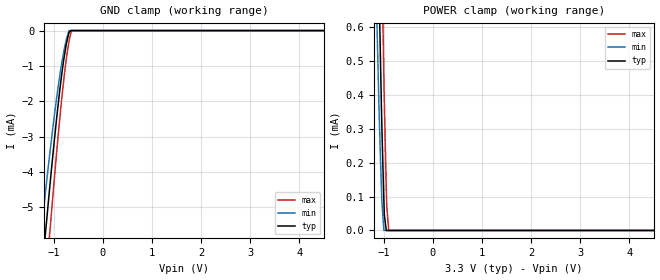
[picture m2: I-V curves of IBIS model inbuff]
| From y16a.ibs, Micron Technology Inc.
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|   inbuff MODEL
[Model]   inbuff
Model_type   Input
Vinl = 800.000mV
Vinh = 2.000V
|   typ   min   max
C_comp   1.860pF   1.520pF   2.320pF
[Voltage Range]   3.300V   3.000V   3.600V
[Temperature Range]   25.0   85.0   0.0
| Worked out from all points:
|   GND clamp passes 1 mA (typ) near -0.82 V on its own axis
|   POWER clamp passes 1 mA (typ) near -1.13 V on its own axis
[GND Clamp]
|   Voltage   I(typ)   I(min)   I(max)
-3.3V     -671mA     -743.9mA   -647.3mA
-1.34V    -8.349mA   -6.914mA   NA
-1.2V     -6.168mA   -4.937mA   NA
-1.09V    -4.52mA    NA         NA
-1.04V    -3.8mA     NA         NA
-940mV    -2.439mA   -1.871mA   -3.398mA
-850mV    -1.352mA   -1.01mA    -2.071mA
-800mV    -837.7uA   NA         NA
-750mV    -411.8uA   NA         NA
-690mV    -44.03uA   0A         -297.5uA
-650mV    0A         NA         -44.91uA
6.6V      0A         0A         0A
[POWER Clamp]
|   Voltage   I(typ)   I(min)   I(max)
-3.3V     37.14mA    31.58mA    41.78mA
-1.14V    1.095mA    609.3uA    1.925mA
-1.09V    658.4uA    313.9uA    1.327mA
-1.05V    367.6uA    126.4uA    901.7uA
-1.04V    304.4uA    86.62uA    804.6uA
-1V       89.28uA    0A         453.6uA
-990mV    45.75uA    NA         377.7uA
-950mV    0A         NA         121.5uA
6.6V      0A         0A         0A
